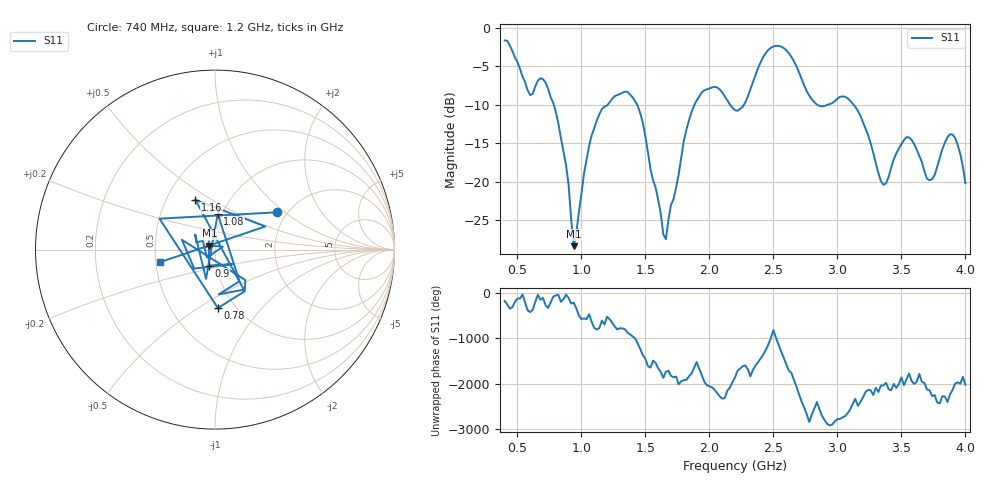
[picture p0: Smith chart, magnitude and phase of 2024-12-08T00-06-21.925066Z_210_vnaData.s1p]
!Created with skrf (http://scikit-rf.org).
# Hz S RI R 50.0
!freq ReS11 ImS11
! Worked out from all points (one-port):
!   181 points, 400 MHz to 4 GHz, reference 50 ohm
!   lowest |S11| = -28.4 dB at 940 MHz (marker M1), VSWR 1.08, Z = 47 + j2.09 ohm
!   |S11| at or under -10 dB: 784.6 MHz to 1.205 GHz (420 MHz wide, 42.2 % of centre); 1.436 GHz to 1.883 GHz (446.5 MHz wide, 26.9 % of centre); 3.128 GHz to end of sweep (the widest 3 of 5)
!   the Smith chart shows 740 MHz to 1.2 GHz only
!   S11 on the Smith chart (normalised r, x): 740 MHz: 1.77, +0.88; 780 MHz: 0.83, -0.61; 900 MHz: 0.92, -0.16; 1.08 GHz: 0.95, +0.40; 1.16 GHz: 0.70, +0.42; 1.2 GHz: 0.53, -0.08
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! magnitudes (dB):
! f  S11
! 400 MHz  -1.6
! 600 MHz  -8.7
! 680 MHz  -6.5
! 740 MHz  -7.9
! 780 MHz  -9.7
! 860 MHz  -16.1
! 900 MHz  -20.4
! 940 MHz  -28.4
! 1.08 GHz  -14.0
! 1.16 GHz  -10.5
! 1.2 GHz  -10.1
! 1.3 GHz  -8.6
! 1.46 GHz  -11.1
! 1.66 GHz  -27.5
! 1.76 GHz  -19.0
! 1.84 GHz  -12.0
! 1.94 GHz  -8.4
! 2.06 GHz  -7.7
! 2.2 GHz  -10.7
! 2.48 GHz  -2.6
! 2.66 GHz  -4.3
! 2.84 GHz  -10.0
! 3.1 GHz  -9.5
! 3.36 GHz  -20.4
! 3.56 GHz  -14.2
! 3.72 GHz  -19.8
! 3.9 GHz  -13.9
! 4 GHz  -20.2
